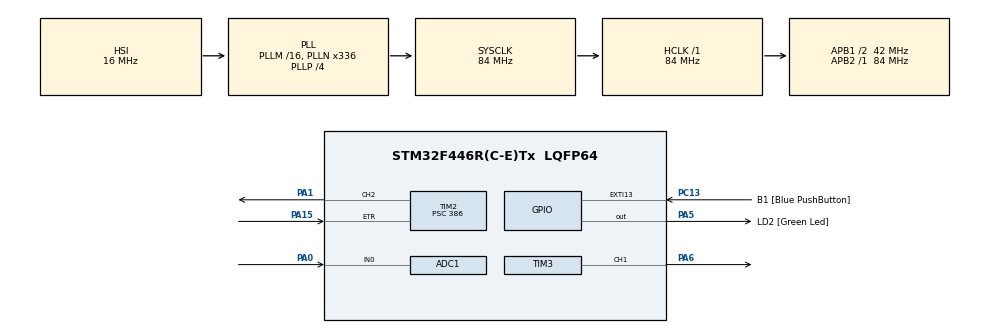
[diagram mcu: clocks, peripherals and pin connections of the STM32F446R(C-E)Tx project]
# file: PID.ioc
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ADC1.Channel-0\#ChannelRegularConversion=ADC_CHANNEL_0
ADC1.ExternalTrigConv=ADC_EXTERNALTRIGCONV_T3_TRGO
ADC1.NbrOfConversionFlag=1
ADC1.Rank-0\#ChannelRegularConversion=1
ADC1.SamplingTime-0\#ChannelRegularConversion=ADC_SAMPLETIME_3CYCLES
ADC1.master=1
Dma.ADC1.0.Direction=DMA_PERIPH_TO_MEMORY
Dma.ADC1.0.FIFOMode=DMA_FIFOMODE_DISABLE
Dma.ADC1.0.Instance=DMA2_Stream0
Dma.ADC1.0.MemDataAlignment=DMA_MDATAALIGN_HALFWORD
Dma.ADC1.0.MemInc=DMA_MINC_ENABLE
Dma.ADC1.0.Mode=DMA_NORMAL
Dma.ADC1.0.PeriphDataAlignment=DMA_PDATAALIGN_HALFWORD
Dma.ADC1.0.PeriphInc=DMA_PINC_DISABLE
Dma.ADC1.0.Priority=DMA_PRIORITY_LOW
Dma.Request0=ADC1
Mcu.Family=STM32F4
Mcu.Name=STM32F446R(C-E)Tx
Mcu.Package=LQFP64
NVIC.DMA2_Stream0_IRQn=true\:0\:0\:false\:false\:true\:false\:true\:true
NVIC.PriorityGroup=NVIC_PRIORITYGROUP_0
NVIC.TIM2_IRQn=true\:0\:0\:false\:false\:true\:true\:true\:true
PA0-WKUP.Signal=ADCx_IN0
PA1.Signal=S_TIM2_CH2
PA13.GPIO_Label=TMS
PA13.Signal=SYS_JTMS-SWDIO
PA14.GPIO_Label=TCK
PA14.Signal=SYS_JTCK-SWCLK
PA15.Signal=S_TIM2_CH1_ETR
PA2.GPIO_Label=USART_TX
PA2.Signal=USART2_TX
PA3.GPIO_Label=USART_RX
PA3.Signal=USART2_RX
PA5.GPIO_Label=LD2 [Green Led]
PA5.Signal=GPIO_Output
PA6.Signal=S_TIM3_CH1
PB3.GPIO_Label=SWO
PB3.Signal=SYS_JTDO-SWO
PC13.GPIO_Label=B1 [Blue PushButton]
PC13.GPIO_ModeDefaultEXTI=GPIO_MODE_IT_FALLING
PC13.Signal=GPXTI13
PC14-OSC32_IN.Signal=RCC_OSC32_IN
PC15-OSC32_OUT.Signal=RCC_OSC32_OUT
PH0-OSC_IN.Signal=RCC_OSC_IN
PH1-OSC_OUT.Signal=RCC_OSC_OUT
ProjectManager.HeapSize=0x200
ProjectManager.StackSize=0x400
ProjectManager.TargetToolchain=STM32CubeIDE
RCC.AHBFreq_Value=84000000
RCC.APB1CLKDivider=RCC_HCLK_DIV2
RCC.APB1Freq_Value=42000000
RCC.APB1TimFreq_Value=84000000
RCC.APB2Freq_Value=84000000
RCC.APB2TimFreq_Value=84000000
RCC.CortexFreq_Value=84000000
RCC.FLatency-AdvancedSettings=FLASH_LATENCY_2
RCC.HCLKFreq_Value=84000000
RCC.HSE_VALUE=8000000
RCC.HSI_VALUE=16000000
RCC.LSE_VALUE=32768
RCC.PLLN=336
RCC.PLLP=RCC_PLLP_DIV4
RCC.SYSCLKFreq_VALUE=84000000
RCC.SYSCLKSource=RCC_SYSCLKSOURCE_PLLCLK
RCC.USBFreq_Value=168000000
RCC.VCOOutputFreq_Value=336000000
SH.ADCx_IN0.0=ADC1_IN0,IN0
SH.S_TIM2_CH1_ETR.0=TIM2_ETR,TriggerSource_ETR
SH.S_TIM2_CH2.0=TIM2_CH2,Output Compare2 CH2
SH.S_TIM3_CH1.0=TIM3_CH1,Output Compare1 CH1
TIM2.Channel-Output\ Compare2\ CH2=TIM_CHANNEL_2
TIM2.OCMode_2=TIM_OCMODE_TOGGLE
TIM2.Period=1799
TIM2.Prescaler=386
TIM3.Channel-Output\ Compare1\ CH1=TIM_CHANNEL_1
TIM3.OCMode_1=TIM_OCMODE_TOGGLE
TIM3.Period=99
TIM3.Prescaler=8399
TIM3.TIM_MasterOutputTrigger=TIM_TRGO_UPDATE
VP_TIM2_VS_ControllerModeTrigger.Mode=Trigger Mode
VP_TIM2_VS_OPM.Mode=OPM_bit
VP_TIM3_VS_ClockSourceINT.Mode=Internal
board=NUCLEO-F446RE

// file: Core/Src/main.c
/* USER CODE BEGIN Header */
/**
  ******************************************************************************
  * @file           : main.c
  * @brief          : Main program body
  ******************************************************************************
  * @attention
  *
  * Copyright (c) 2024 STMicroelectronics.
  * All rights reserved.
  *
  * This software is licensed under terms that can be found in the LICENSE file
  * in the root directory of this software component.
  * If no LICENSE file comes with this software, it is provided AS-IS.
  *
  ******************************************************************************
  */
/* USER CODE END Header */
#include "main.h"

/* USER CODE BEGIN Includes */
#include "pid.h"
#include "string.h"
/* USER CODE END Includes */

/* USER CODE BEGIN PTD */
#define msgSIZE 100
#define N_AMOSTRAS 128 						 // Amostras DMA buffer
#define LIM_SUPERIOR 1799
/* USER CODE END PTD */

ADC_HandleTypeDef hadc1;
DMA_HandleTypeDef hdma_adc1;

TIM_HandleTypeDef htim2;
TIM_HandleTypeDef htim3;

/* USER CODE BEGIN PV */

// tensão x temp = tensao no arm
//2,160 41,7
//2,150 41,4
//2,140 40,5
//2,138 40,1 = 2653.06364
//2,137 39,8
// 2.891 37 = 3587.46818
// 3.059: 45.1
// 3.06: 44.5
// 3.045: 42.8
char msg[msgSIZE];
double TempMedida = 0.00, Val_CCR = 0.00, TempDesejada = 3587.46818;

uint16_t medidas[N_AMOSTRAS];
uint16_t angulo = 180;

uint8_t EstadoDoPulso = 0;
uint16_t pulso[2] = {40, 1700};
enum{SOBE=0,DESCE};

int adc = 0;
int aux = 0;
/* USER CODE END PV */

void SystemClock_Config(void);
static void MX_GPIO_Init(void);
static void MX_DMA_Init(void);
static void MX_ADC1_Init(void);
static void MX_TIM3_Init(void);
static void MX_TIM2_Init(void);

/* USER CODE BEGIN 0 */
PID_TypeDef TPID;
/* USER CODE END 0 */

int main(void)
{

  /* MCU Configuration--------------------------------------------------------*/

  /* Reset of all peripherals, Initializes the Flash interface and the Systick. */
  HAL_Init();

  /* Configure the system clock */
  SystemClock_Config();

  /* Initialize all configured peripherals */
  MX_GPIO_Init();
  MX_DMA_Init();
  MX_ADC1_Init();
  MX_TIM3_Init();
  MX_TIM2_Init();
  /* USER CODE BEGIN 2 */
  // Your temp setpoint

   PID(&TPID, &TempMedida, &Val_CCR, &TempDesejada, 8, 0.001, 0, _PID_P_ON_E, _PID_CD_DIRECT);

   PID_SetMode(&TPID, _PID_MODE_AUTOMATIC);
   PID_SetSampleTime(&TPID, 100);
   PID_SetOutputLimits(&TPID, 25, 1779);

   HAL_TIM_OC_Start_IT(&htim2, TIM_CHANNEL_2);
   HAL_TIM_OC_Start(&htim3, TIM_CHANNEL_1);
   HAL_ADC_Start_DMA(&hadc1, &medidas[0], N_AMOSTRAS);

   __HAL_TIM_SET_COMPARE(&htim2, TIM_CHANNEL_2, pulso[0]);			// Configurando o ccr inicial pro tempo de subida
   EstadoDoPulso=1;
   htim2.Instance->CCMR1 |= TIM_CCMR1_OC2CE;								// Ajuda a evitar pulsos invertidos

  /* USER CODE END 2 */

  /* Infinite loop */
  while (1)
  {

  }
}

void SystemClock_Config(void)
{
  RCC_OscInitTypeDef RCC_OscInitStruct = {0};
  RCC_ClkInitTypeDef RCC_ClkInitStruct = {0};

  /** Configure the main internal regulator output voltage
  */
  __HAL_RCC_PWR_CLK_ENABLE();
  __HAL_PWR_VOLTAGESCALING_CONFIG(PWR_REGULATOR_VOLTAGE_SCALE3);

  /** Initializes the RCC Oscillators according to the specified parameters
  * in the RCC_OscInitTypeDef structure.
  */
  RCC_OscInitStruct.OscillatorType = RCC_OSCILLATORTYPE_HSI;
  RCC_OscInitStruct.HSIState = RCC_HSI_ON;
  RCC_OscInitStruct.HSICalibrationValue = RCC_HSICALIBRATION_DEFAULT;
  RCC_OscInitStruct.PLL.PLLState = RCC_PLL_ON;
  RCC_OscInitStruct.PLL.PLLSource = RCC_PLLSOURCE_HSI;
  RCC_OscInitStruct.PLL.PLLM = 16;
  RCC_OscInitStruct.PLL.PLLN = 336;
  RCC_OscInitStruct.PLL.PLLP = RCC_PLLP_DIV4;
  RCC_OscInitStruct.PLL.PLLQ = 2;
  RCC_OscInitStruct.PLL.PLLR = 2;
  if (HAL_RCC_OscConfig(&RCC_OscInitStruct) != HAL_OK)
  {
    Error_Handler();
  }

  /** Initializes the CPU, AHB and APB buses clocks
  */
  RCC_ClkInitStruct.ClockType = RCC_CLOCKTYPE_HCLK|RCC_CLOCKTYPE_SYSCLK
                              |RCC_CLOCKTYPE_PCLK1|RCC_CLOCKTYPE_PCLK2;
  RCC_ClkInitStruct.SYSCLKSource = RCC_SYSCLKSOURCE_PLLCLK;
  RCC_ClkInitStruct.AHBCLKDivider = RCC_SYSCLK_DIV1;
  RCC_ClkInitStruct.APB1CLKDivider = RCC_HCLK_DIV2;
  RCC_ClkInitStruct.APB2CLKDivider = RCC_HCLK_DIV1;

  if (HAL_RCC_ClockConfig(&RCC_ClkInitStruct, FLASH_LATENCY_2) != HAL_OK)
  {
    Error_Handler();
  }
}

static void MX_ADC1_Init(void)
{

  ADC_ChannelConfTypeDef sConfig = {0};

  /** Configure the global features of the ADC (Clock, Resolution, Data Alignment and number of conversion)
  */
  hadc1.Instance = ADC1;
  hadc1.Init.ClockPrescaler = ADC_CLOCK_SYNC_PCLK_DIV4;
  hadc1.Init.Resolution = ADC_RESOLUTION_12B;
  hadc1.Init.ScanConvMode = DISABLE;
  hadc1.Init.ContinuousConvMode = DISABLE;
  hadc1.Init.DiscontinuousConvMode = DISABLE;
  hadc1.Init.ExternalTrigConvEdge = ADC_EXTERNALTRIGCONVEDGE_RISING;
  hadc1.Init.ExternalTrigConv = ADC_EXTERNALTRIGCONV_T3_TRGO;
  hadc1.Init.DataAlign = ADC_DATAALIGN_RIGHT;
  hadc1.Init.NbrOfConversion = 1;
  hadc1.Init.DMAContinuousRequests = DISABLE;
  hadc1.Init.EOCSelection = ADC_EOC_SINGLE_CONV;
  if (HAL_ADC_Init(&hadc1) != HAL_OK)
  {
    Error_Handler();
  }

  /** Configure for the selected ADC regular channel its corresponding rank in the sequencer and its sample time.
  */
  sConfig.Channel = ADC_CHANNEL_0;
  sConfig.Rank = 1;
  sConfig.SamplingTime = ADC_SAMPLETIME_3CYCLES;
  if (HAL_ADC_ConfigChannel(&hadc1, &sConfig) != HAL_OK)
  {
    Error_Handler();
  }

}

static void MX_TIM2_Init(void)
{

  TIM_SlaveConfigTypeDef sSlaveConfig = {0};
  TIM_MasterConfigTypeDef sMasterConfig = {0};
  TIM_OC_InitTypeDef sConfigOC = {0};

  htim2.Instance = TIM2;
  htim2.Init.Prescaler = 386;
  htim2.Init.CounterMode = TIM_COUNTERMODE_UP;
  htim2.Init.Period = 1799;
  htim2.Init.ClockDivision = TIM_CLOCKDIVISION_DIV1;
  htim2.Init.AutoReloadPreload = TIM_AUTORELOAD_PRELOAD_DISABLE;
  if (HAL_TIM_Base_Init(&htim2) != HAL_OK)
  {
    Error_Handler();
  }
  if (HAL_TIM_OC_Init(&htim2) != HAL_OK)
  {
    Error_Handler();
  }
  if (HAL_TIM_OnePulse_Init(&htim2, TIM_OPMODE_SINGLE) != HAL_OK)
  {
    Error_Handler();
  }
  sSlaveConfig.SlaveMode = TIM_SLAVEMODE_TRIGGER;
  sSlaveConfig.InputTrigger = TIM_TS_ETRF;
  sSlaveConfig.TriggerPolarity = TIM_TRIGGERPOLARITY_NONINVERTED;
  sSlaveConfig.TriggerPrescaler = TIM_TRIGGERPRESCALER_DIV1;
  sSlaveConfig.TriggerFilter = 0;
  if (HAL_TIM_SlaveConfigSynchro(&htim2, &sSlaveConfig) != HAL_OK)
  {
    Error_Handler();
  }
  sMasterConfig.MasterOutputTrigger = TIM_TRGO_RESET;
  sMasterConfig.MasterSlaveMode = TIM_MASTERSLAVEMODE_DISABLE;
  if (HAL_TIMEx_MasterConfigSynchronization(&htim2, &sMasterConfig) != HAL_OK)
  {
    Error_Handler();
  }
  sConfigOC.OCMode = TIM_OCMODE_TOGGLE;
  sConfigOC.Pulse = 10;
  sConfigOC.OCPolarity = TIM_OCPOLARITY_HIGH;
  sConfigOC.OCFastMode = TIM_OCFAST_DISABLE;
  if (HAL_TIM_OC_ConfigChannel(&htim2, &sConfigOC, TIM_CHANNEL_2) != HAL_OK)
  {
    Error_Handler();
  }
  HAL_TIM_MspPostInit(&htim2);

}

static void MX_TIM3_Init(void)
{

  TIM_ClockConfigTypeDef sClockSourceConfig = {0};
  TIM_MasterConfigTypeDef sMasterConfig = {0};
  TIM_OC_InitTypeDef sConfigOC = {0};

  htim3.Instance = TIM3;
  htim3.Init.Prescaler = 8399;
  htim3.Init.CounterMode = TIM_COUNTERMODE_UP;
  htim3.Init.Period = 99;
  htim3.Init.ClockDivision = TIM_CLOCKDIVISION_DIV1;
  htim3.Init.AutoReloadPreload = TIM_AUTORELOAD_PRELOAD_DISABLE;
  if (HAL_TIM_Base_Init(&htim3) != HAL_OK)
  {
    Error_Handler();
  }
  sClockSourceConfig.ClockSource = TIM_CLOCKSOURCE_INTERNAL;
  if (HAL_TIM_ConfigClockSource(&htim3, &sClockSourceConfig) != HAL_OK)
  {
    Error_Handler();
  }
  if (HAL_TIM_OC_Init(&htim3) != HAL_OK)
  {
    Error_Handler();
  }
  sMasterConfig.MasterOutputTrigger = TIM_TRGO_UPDATE;
  sMasterConfig.MasterSlaveMode = TIM_MASTERSLAVEMODE_DISABLE;
  if (HAL_TIMEx_MasterConfigSynchronization(&htim3, &sMasterConfig) != HAL_OK)
  {
    Error_Handler();
  }
  sConfigOC.OCMode = TIM_OCMODE_TOGGLE;
  sConfigOC.Pulse = 0;
  sConfigOC.OCPolarity = TIM_OCPOLARITY_HIGH;
  sConfigOC.OCFastMode = TIM_OCFAST_DISABLE;
  if (HAL_TIM_OC_ConfigChannel(&htim3, &sConfigOC, TIM_CHANNEL_1) != HAL_OK)
  {
    Error_Handler();
  }
  HAL_TIM_MspPostInit(&htim3);

}

static void MX_DMA_Init(void)
{

  /* DMA controller clock enable */
  __HAL_RCC_DMA2_CLK_ENABLE();

  /* DMA interrupt init */
  /* DMA2_Stream0_IRQn interrupt configuration */
  HAL_NVIC_SetPriority(DMA2_Stream0_IRQn, 0, 0);
  HAL_NVIC_EnableIRQ(DMA2_Stream0_IRQn);

}

static void MX_GPIO_Init(void)
{
  GPIO_InitTypeDef GPIO_InitStruct = {0};

  /* GPIO Ports Clock Enable */
  __HAL_RCC_GPIOC_CLK_ENABLE();
  __HAL_RCC_GPIOH_CLK_ENABLE();
  __HAL_RCC_GPIOA_CLK_ENABLE();
  __HAL_RCC_GPIOB_CLK_ENABLE();

  /*Configure GPIO pin Output Level */
  HAL_GPIO_WritePin(LD2_GPIO_Port, LD2_Pin, GPIO_PIN_RESET);

  /*Configure GPIO pin : B1_Pin */
  GPIO_InitStruct.Pin = B1_Pin;
  GPIO_InitStruct.Mode = GPIO_MODE_IT_FALLING;
  GPIO_InitStruct.Pull = GPIO_NOPULL;
  HAL_GPIO_Init(B1_GPIO_Port, &GPIO_InitStruct);

  /*Configure GPIO pins : USART_TX_Pin USART_RX_Pin */
  GPIO_InitStruct.Pin = USART_TX_Pin|USART_RX_Pin;
  GPIO_InitStruct.Mode = GPIO_MODE_AF_PP;
  GPIO_InitStruct.Pull = GPIO_NOPULL;
  GPIO_InitStruct.Speed = GPIO_SPEED_FREQ_VERY_HIGH;
  GPIO_InitStruct.Alternate = GPIO_AF7_USART2;
  HAL_GPIO_Init(GPIOA, &GPIO_InitStruct);

  /*Configure GPIO pin : LD2_Pin */
  GPIO_InitStruct.Pin = LD2_Pin;
  GPIO_InitStruct.Mode = GPIO_MODE_OUTPUT_PP;
  GPIO_InitStruct.Pull = GPIO_NOPULL;
  GPIO_InitStruct.Speed = GPIO_SPEED_FREQ_LOW;
  HAL_GPIO_Init(LD2_GPIO_Port, &GPIO_InitStruct);

}

/* USER CODE BEGIN 4 */
void HAL_TIM_OC_DelayElapsedCallback(TIM_HandleTypeDef *htim)
{

	if(htim->Channel==HAL_TIM_ACTIVE_CHANNEL_2)
	{
		__HAL_TIM_SET_COMPARE(&htim2, TIM_CHANNEL_2, pulso[EstadoDoPulso]);

		if(EstadoDoPulso==DESCE) 													// Se está na borda de descida...
			{
				EstadoDoPulso=SOBE;														// Deve subir
			}
			else{																// Caso contrário...				{
				EstadoDoPulso=DESCE;													// Deve descer
			}
	}
}

void HAL_ADC_ConvCpltCallback(ADC_HandleTypeDef* hadc){
	double resultado = 0;
	uint16_t valor_final = 0;

	for(int u = 0; u < N_AMOSTRAS; u++){
		resultado += (medidas[u])*1.000;
	}

	TempMedida = resultado/N_AMOSTRAS;

	PID_Compute(&TPID);

	valor_final = LIM_SUPERIOR - (uint16_t)Val_CCR ;
	pulso[0] = valor_final;
	pulso[1] = LIM_SUPERIOR;

	HAL_ADC_Start_DMA(&hadc1, &medidas[0], N_AMOSTRAS);
}
/* USER CODE END 4 */

void Error_Handler(void)
{
  __disable_irq();
  while (1)
  {
  }
}
